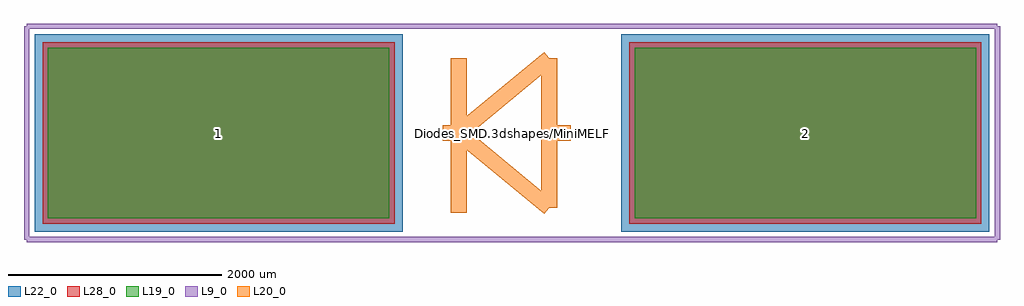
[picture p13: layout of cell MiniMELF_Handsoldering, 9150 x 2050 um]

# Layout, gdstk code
import gdstk
lib = gdstk.Library(unit=1e-6, precision=1e-09)
def R(c, l, rs):  # rectangles x0, y0, x1, y1
    for r in rs: c.add(gdstk.rectangle(r[:2], r[2:], *l))
L9_0 = (9, 0)
L19_0 = (19, 0)
L20_0 = (20, 0)
L22_0 = (22, 0)
L28_0 = (28, 0)

minimelf_handsoldering = lib.new_cell('MiniMELF_Handsoldering')
R(minimelf_handsoldering, L19_0, [(-4350.55,-799.63,-1151.09,799.63), (1151.09,-799.63,4350.55,799.63)])
R(minimelf_handsoldering, L22_0, [(-4475.55,-924.63,-1026.09,924.63), (1026.09,-924.63,4475.55,924.63)])
R(minimelf_handsoldering, L28_0, [(-4400.55,-849.63,-1101.09,849.63), (1101.09,-849.63,4400.55,849.63)])
minimelf_handsoldering.add(gdstk.FlexPath([(348.78,-701.04),(-499.58,0)], 149.998, ends="flush", simple_path=True, layer=20, datatype=0))  # L20_0
minimelf_handsoldering.add(gdstk.FlexPath([(348.78,701.04),(348.78,-701.04)], 149.998, ends="flush", simple_path=True, layer=20, datatype=0))  # L20_0
minimelf_handsoldering.add(gdstk.FlexPath([(-499.58,0),(348.78,701.04)], 149.998, ends="flush", simple_path=True, layer=20, datatype=0))  # L20_0
minimelf_handsoldering.add(gdstk.FlexPath([(-499.58,0),(-499.58,701.04)], 149.998, ends="flush", simple_path=True, layer=20, datatype=0))  # L20_0
minimelf_handsoldering.add(gdstk.FlexPath([(-499.58,0),(-499.58,-749.3)], 149.998, ends="flush", simple_path=True, layer=20, datatype=0))  # L20_0
minimelf_handsoldering.add(gdstk.FlexPath([(348.78,0),(549.44,0)], 149.998, ends="flush", simple_path=True, layer=20, datatype=0))  # L20_0
minimelf_handsoldering.add(gdstk.FlexPath([(-499.58,0),(-649.44,0)], 149.998, ends="flush", simple_path=True, layer=20, datatype=0))  # L20_0
minimelf_handsoldering.add(gdstk.FlexPath([(-4550,-1000),(-4550,1000)], 50, ends="flush", simple_path=True, layer=9, datatype=0))  # L9_0
minimelf_handsoldering.add(gdstk.FlexPath([(4550,-1000),(-4550,-1000)], 50, ends="flush", simple_path=True, layer=9, datatype=0))  # L9_0
minimelf_handsoldering.add(gdstk.FlexPath([(4550,1000),(4550,-1000)], 50, ends="flush", simple_path=True, layer=9, datatype=0))  # L9_0
minimelf_handsoldering.add(gdstk.FlexPath([(-4550,1000),(4550,1000)], 50, ends="flush", simple_path=True, layer=9, datatype=0))  # L9_0
minimelf_handsoldering.add(gdstk.Label('Diodes_SMD.3dshapes/MiniMELF_Handsoldering.wrl', (0,0), layer=12, texttype=0))
minimelf_handsoldering.add(gdstk.Label('2', (2750.82,0), layer=28, texttype=0))
minimelf_handsoldering.add(gdstk.Label('1', (-2750.82,0), layer=28, texttype=0))
minimelf_handsoldering.add(gdstk.Label('A', (1800,-1850), layer=9, texttype=0))
minimelf_handsoldering.add(gdstk.Label('K', (-1800,-1850), layer=9, texttype=0))
minimelf_handsoldering.add(gdstk.Label('type', (0,-3810), layer=9, texttype=0))
minimelf_handsoldering.add(gdstk.Label('devicename', (0,2540), layer=9, texttype=0))

lib.write_gds('MiniMELF_Handsoldering.gds')
